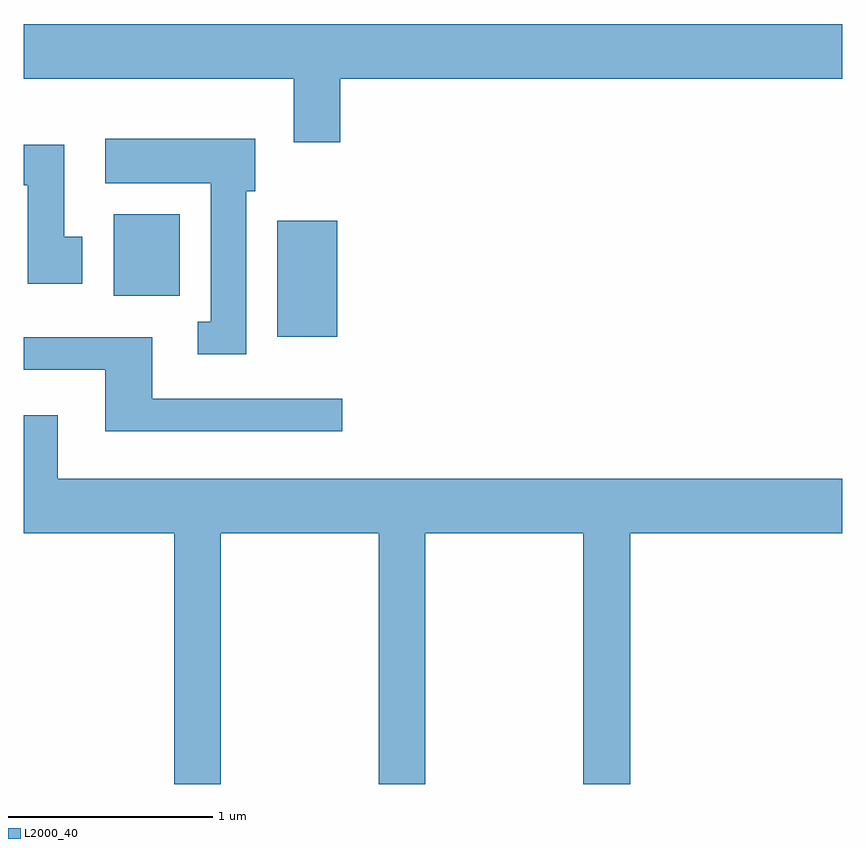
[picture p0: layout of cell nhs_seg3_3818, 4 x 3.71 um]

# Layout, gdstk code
import gdstk
lib = gdstk.Library(unit=1e-6, precision=1e-09)
def R(c, l, rs):  # rectangles x0, y0, x1, y1
    for r in rs: c.add(gdstk.rectangle(r[:2], r[2:], *l))
def P(c, l, *ps):  # polygons
    for p in ps: c.add(gdstk.Polygon(p, *l))
L2000_40 = (2000, 40)

nhs_seg3_3818 = lib.new_cell('nhs_seg3_3818')
R(nhs_seg3_3818, L2000_40, [(298.851,1138.076,299.144,1138.644), (298.051,1138.276,298.374,1138.674)])
P(nhs_seg3_3818, L2000_40, [(299.159,1139.336),(301.611,1139.336),(301.611,1139.604),(297.611,1139.604),(297.611,1139.336),(298.931,1139.336),(298.931,1139.026),(299.159,1139.026)],
  [(298.699,1138.786),(298.744,1138.786),(298.744,1139.044),(298.011,1139.044),(298.011,1138.826),(298.526,1138.826),(298.526,1138.149),(298.463,1138.149),(298.463,1137.991),(298.699,1137.991)],
  [(297.899,1138.564),(297.809,1138.564),(297.809,1139.014),(297.611,1139.014),(297.611,1138.816),(297.631,1138.816),(297.631,1138.336),(297.899,1138.336)],
  [(299.168,1137.774),(298.239,1137.774),(298.239,1138.074),(297.611,1138.074),(297.611,1137.916),(298.011,1137.916),(298.011,1137.616),(299.168,1137.616)],
  [(298.574,1137.116),(299.346,1137.116),(299.346,1135.892),(299.574,1135.892),(299.574,1137.116),(300.346,1137.116),(300.346,1135.892),(300.574,1135.892),(300.574,1137.116),(301.611,1137.116),(301.611,1137.384),(297.779,1137.384),(297.779,1137.694),(297.611,1137.694),(297.611,1137.116),(298.346,1137.116),(298.346,1135.892),(298.574,1135.892)])

lib.write_gds('nhs_seg3_3818.gds')
